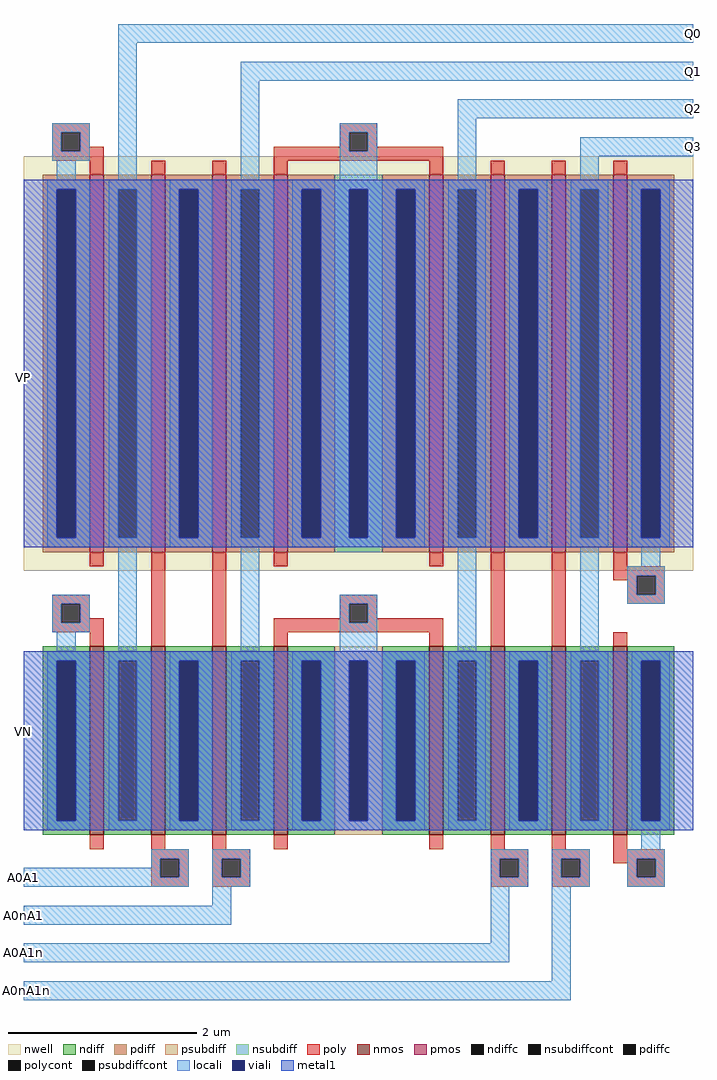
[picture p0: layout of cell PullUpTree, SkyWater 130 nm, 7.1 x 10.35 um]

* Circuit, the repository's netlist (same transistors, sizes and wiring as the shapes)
* SPICE3 file created from /home/madvlsi/Desktop/CMOSDRAM/DRAM_Components/Magic/PullUpTree.ext - technology: sky130A


* Top level circuit /home/madvlsi/Desktop/CMOSDRAM/DRAM_Components/Magic/PullUpTree

X0 VP A0A1n Q2 VP sky130_fd_pr__pfet_01v8 ad=1.2e+13p pd=5.4e+07u as=2e+12p ps=9e+06u w=4e+06u l=150000u
X1 VP VP Q3 VP sky130_fd_pr__pfet_01v8 ad=0p pd=0u as=2e+12p ps=9e+06u w=4e+06u l=150000u
X2 Q0 VP VP VP sky130_fd_pr__pfet_01v8 ad=2e+12p pd=9e+06u as=0p ps=0u w=4e+06u l=150000u
X3 VN VN Q1 VN sky130_fd_pr__nfet_01v8 ad=6e+12p pd=3e+07u as=1e+12p ps=5e+06u w=2e+06u l=150000u
X4 Q3 A0nA1n VN VN sky130_fd_pr__nfet_01v8 ad=1e+12p pd=5e+06u as=0p ps=0u w=2e+06u l=150000u
X5 Q2 VN VN VN sky130_fd_pr__nfet_01v8 ad=1e+12p pd=5e+06u as=0p ps=0u w=2e+06u l=150000u
X6 Q0 VN VN VN sky130_fd_pr__nfet_01v8 ad=1e+12p pd=5e+06u as=0p ps=0u w=2e+06u l=150000u
X7 Q1 A0nA1 VP VP sky130_fd_pr__pfet_01v8 ad=2e+12p pd=9e+06u as=0p ps=0u w=4e+06u l=150000u
X8 Q1 A0nA1 VN VN sky130_fd_pr__nfet_01v8 ad=0p pd=0u as=0p ps=0u w=2e+06u l=150000u
X9 VN VN Q3 VN sky130_fd_pr__nfet_01v8 ad=0p pd=0u as=0p ps=0u w=2e+06u l=150000u
X10 Q3 A0nA1n VP VP sky130_fd_pr__pfet_01v8 ad=0p pd=0u as=0p ps=0u w=4e+06u l=150000u
X11 VN A0A1 Q0 VN sky130_fd_pr__nfet_01v8 ad=0p pd=0u as=0p ps=0u w=2e+06u l=150000u
X12 Q2 VP VP VP sky130_fd_pr__pfet_01v8 ad=0p pd=0u as=0p ps=0u w=4e+06u l=150000u
X13 VP A0A1 Q0 VP sky130_fd_pr__pfet_01v8 ad=0p pd=0u as=0p ps=0u w=4e+06u l=150000u
X14 VP VP Q1 VP sky130_fd_pr__pfet_01v8 ad=0p pd=0u as=0p ps=0u w=4e+06u l=150000u
X15 VN A0A1n Q2 VN sky130_fd_pr__nfet_01v8 ad=0p pd=0u as=0p ps=0u w=2e+06u l=150000u
.end

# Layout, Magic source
magic
tech sky130A
<< nwell >>
rect -430 480 280 920
<< nmos >>
rect -360 200 -345 400
rect -295 200 -280 400
rect -230 200 -215 400
rect -165 200 -150 400
rect 0 200 15 400
rect 65 200 80 400
rect 130 200 145 400
rect 195 200 210 400
<< pmos >>
rect -360 500 -345 900
rect -295 500 -280 900
rect -230 500 -215 900
rect -165 500 -150 900
rect 0 500 15 900
rect 65 500 80 900
rect 130 500 145 900
rect 195 500 210 900
<< ndiff >>
rect -410 385 -360 400
rect -410 215 -395 385
rect -375 215 -360 385
rect -410 200 -360 215
rect -345 385 -295 400
rect -345 215 -330 385
rect -310 215 -295 385
rect -345 200 -295 215
rect -280 385 -230 400
rect -280 215 -265 385
rect -245 215 -230 385
rect -280 200 -230 215
rect -215 385 -165 400
rect -215 215 -200 385
rect -180 215 -165 385
rect -215 200 -165 215
rect -150 385 -100 400
rect -50 385 0 400
rect -150 215 -135 385
rect -115 215 -100 385
rect -50 215 -35 385
rect -15 215 0 385
rect -150 200 -100 215
rect -50 200 0 215
rect 15 385 65 400
rect 15 215 30 385
rect 50 215 65 385
rect 15 200 65 215
rect 80 385 130 400
rect 80 215 95 385
rect 115 215 130 385
rect 80 200 130 215
rect 145 385 195 400
rect 145 215 160 385
rect 180 215 195 385
rect 145 200 195 215
rect 210 385 260 400
rect 210 215 225 385
rect 245 215 260 385
rect 210 200 260 215
<< pdiff >>
rect -410 885 -360 900
rect -410 515 -395 885
rect -375 515 -360 885
rect -410 500 -360 515
rect -345 885 -295 900
rect -345 515 -330 885
rect -310 515 -295 885
rect -345 500 -295 515
rect -280 885 -230 900
rect -280 515 -265 885
rect -245 515 -230 885
rect -280 500 -230 515
rect -215 885 -165 900
rect -215 515 -200 885
rect -180 515 -165 885
rect -215 500 -165 515
rect -150 885 -100 900
rect -50 885 0 900
rect -150 515 -135 885
rect -115 515 -100 885
rect -50 515 -35 885
rect -15 515 0 885
rect -150 500 -100 515
rect -50 500 0 515
rect 15 885 65 900
rect 15 515 30 885
rect 50 515 65 885
rect 15 500 65 515
rect 80 885 130 900
rect 80 515 95 885
rect 115 515 130 885
rect 80 500 130 515
rect 145 885 195 900
rect 145 515 160 885
rect 180 515 195 885
rect 145 500 195 515
rect 210 885 260 900
rect 210 515 225 885
rect 245 515 260 885
rect 210 500 260 515
<< ndiffc >>
rect -395 215 -375 385
rect -330 215 -310 385
rect -265 215 -245 385
rect -200 215 -180 385
rect -135 215 -115 385
rect -35 215 -15 385
rect 30 215 50 385
rect 95 215 115 385
rect 160 215 180 385
rect 225 215 245 385
<< pdiffc >>
rect -395 515 -375 885
rect -330 515 -310 885
rect -265 515 -245 885
rect -200 515 -180 885
rect -135 515 -115 885
rect -35 515 -15 885
rect 30 515 50 885
rect 95 515 115 885
rect 160 515 180 885
rect 225 515 245 885
<< psubdiff >>
rect -100 385 -50 400
rect -100 215 -85 385
rect -65 215 -50 385
rect -100 200 -50 215
<< nsubdiff >>
rect -100 885 -50 900
rect -100 515 -85 885
rect -65 515 -50 885
rect -100 500 -50 515
<< psubdiffcont >>
rect -85 215 -65 385
<< nsubdiffcont >>
rect -85 515 -65 885
<< poly >>
rect -400 945 -360 955
rect -400 925 -390 945
rect -370 930 -360 945
rect -95 945 -55 955
rect -95 930 -85 945
rect -370 925 -345 930
rect -400 915 -345 925
rect -165 925 -85 930
rect -65 930 -55 945
rect -65 925 15 930
rect -165 915 15 925
rect -360 900 -345 915
rect -295 900 -280 915
rect -230 900 -215 915
rect -165 900 -150 915
rect 0 900 15 915
rect 65 900 80 915
rect 130 900 145 915
rect 195 900 210 915
rect -360 485 -345 500
rect -400 445 -360 455
rect -400 425 -390 445
rect -370 430 -360 445
rect -370 425 -345 430
rect -400 415 -345 425
rect -360 400 -345 415
rect -295 400 -280 500
rect -230 400 -215 500
rect -165 485 -150 500
rect 0 485 15 500
rect -95 445 -55 455
rect -95 430 -85 445
rect -165 425 -85 430
rect -65 430 -55 445
rect -65 425 15 430
rect -165 415 15 425
rect -165 400 -150 415
rect 0 400 15 415
rect 65 400 80 500
rect 130 400 145 500
rect 195 485 210 500
rect 195 475 250 485
rect 195 470 220 475
rect 210 455 220 470
rect 240 455 250 475
rect 210 445 250 455
rect 195 400 210 415
rect -360 185 -345 200
rect -295 185 -280 200
rect -230 185 -215 200
rect -165 185 -150 200
rect 0 185 15 200
rect 65 185 80 200
rect 130 185 145 200
rect 195 185 210 200
rect -295 175 -255 185
rect -295 155 -285 175
rect -265 155 -255 175
rect -295 145 -255 155
rect -230 175 -190 185
rect -230 155 -220 175
rect -200 155 -190 175
rect -230 145 -190 155
rect 65 175 105 185
rect 65 155 75 175
rect 95 155 105 175
rect 65 145 105 155
rect 130 175 170 185
rect 130 155 140 175
rect 160 155 170 175
rect 195 175 250 185
rect 195 170 220 175
rect 130 145 170 155
rect 210 155 220 170
rect 240 155 250 175
rect 210 145 250 155
<< polycont >>
rect -390 925 -370 945
rect -85 925 -65 945
rect -390 425 -370 445
rect -85 425 -65 445
rect 220 455 240 475
rect -285 155 -265 175
rect -220 155 -200 175
rect 75 155 95 175
rect 140 155 160 175
rect 220 155 240 175
<< locali >>
rect -330 1040 280 1060
rect -400 945 -360 955
rect -400 925 -390 945
rect -370 925 -360 945
rect -400 915 -360 925
rect -395 895 -375 915
rect -330 895 -310 1040
rect -200 1000 280 1020
rect -200 895 -180 1000
rect 30 960 280 980
rect -95 945 -55 955
rect -95 925 -85 945
rect -65 925 -55 945
rect -95 895 -55 925
rect 30 895 50 960
rect 160 920 280 940
rect 160 895 180 920
rect -405 885 -360 895
rect -405 515 -395 885
rect -375 515 -360 885
rect -405 505 -360 515
rect -340 885 -295 895
rect -340 515 -330 885
rect -310 515 -295 885
rect -340 505 -295 515
rect -275 885 -230 895
rect -275 515 -265 885
rect -245 515 -230 885
rect -275 505 -230 515
rect -210 885 -165 895
rect -210 515 -200 885
rect -180 515 -165 885
rect -210 505 -165 515
rect -145 885 -5 895
rect -145 515 -135 885
rect -115 515 -85 885
rect -65 515 -35 885
rect -15 515 -5 885
rect -145 505 -5 515
rect 20 885 60 895
rect 20 515 30 885
rect 50 515 60 885
rect 20 505 60 515
rect 85 885 125 895
rect 85 515 95 885
rect 115 515 125 885
rect 85 505 125 515
rect 150 885 190 895
rect 150 515 160 885
rect 180 515 190 885
rect 150 505 190 515
rect 215 885 255 895
rect 215 515 225 885
rect 245 515 255 885
rect 215 505 255 515
rect -400 445 -360 455
rect -400 425 -390 445
rect -370 425 -360 445
rect -400 415 -360 425
rect -395 395 -375 415
rect -330 395 -310 505
rect -200 395 -180 505
rect -95 445 -55 455
rect -95 425 -85 445
rect -65 425 -55 445
rect -95 395 -55 425
rect 30 395 50 505
rect 160 395 180 505
rect 225 485 245 505
rect 210 475 250 485
rect 210 455 220 475
rect 240 455 250 475
rect 210 445 250 455
rect -405 385 -360 395
rect -405 215 -395 385
rect -375 215 -360 385
rect -405 205 -360 215
rect -340 385 -295 395
rect -340 215 -330 385
rect -310 215 -295 385
rect -340 205 -295 215
rect -275 385 -230 395
rect -275 215 -265 385
rect -245 215 -230 385
rect -275 205 -230 215
rect -210 385 -165 395
rect -210 215 -200 385
rect -180 215 -165 385
rect -210 205 -165 215
rect -145 385 -5 395
rect -145 215 -135 385
rect -115 215 -85 385
rect -65 215 -35 385
rect -15 215 -5 385
rect -145 205 -5 215
rect 20 385 60 395
rect 20 215 30 385
rect 50 215 60 385
rect 20 205 60 215
rect 85 385 125 395
rect 85 215 95 385
rect 115 215 125 385
rect 85 205 125 215
rect 150 385 190 395
rect 150 215 160 385
rect 180 215 190 385
rect 150 205 190 215
rect 215 385 255 395
rect 215 215 225 385
rect 245 215 255 385
rect 215 205 255 215
rect 225 185 245 205
rect -295 175 -255 185
rect -295 165 -285 175
rect -430 155 -285 165
rect -265 155 -255 175
rect -430 145 -255 155
rect -230 175 -190 185
rect -230 155 -220 175
rect -200 155 -190 175
rect -230 145 -190 155
rect 65 175 105 185
rect 65 155 75 175
rect 95 155 105 175
rect 65 145 105 155
rect 130 175 170 185
rect 130 155 140 175
rect 160 155 170 175
rect 130 145 170 155
rect 210 175 250 185
rect 210 155 220 175
rect 240 155 250 175
rect 210 145 250 155
rect -230 125 -210 145
rect -430 105 -210 125
rect 65 85 85 145
rect -430 65 85 85
rect 130 45 150 145
rect -430 25 150 45
<< viali >>
rect -395 515 -375 885
rect -265 515 -245 885
rect -135 515 -115 885
rect -85 515 -65 885
rect -35 515 -15 885
rect 95 515 115 885
rect 225 515 245 885
rect -395 215 -375 385
rect -265 215 -245 385
rect -135 215 -115 385
rect -85 215 -65 385
rect -35 215 -15 385
rect 95 215 115 385
rect 225 215 245 385
<< metal1 >>
rect -430 885 280 895
rect -430 515 -395 885
rect -375 515 -265 885
rect -245 515 -135 885
rect -115 515 -85 885
rect -65 515 -35 885
rect -15 515 95 885
rect 115 515 225 885
rect 245 515 280 885
rect -430 505 280 515
rect -430 385 280 395
rect -430 215 -395 385
rect -375 215 -265 385
rect -245 215 -135 385
rect -115 215 -85 385
rect -65 215 -35 385
rect -15 215 95 385
rect 115 215 225 385
rect 245 215 280 385
rect -430 205 280 215
<< labels >>
rlabel locali 280 1050 280 1050 3 Q0
rlabel locali 280 1010 280 1010 3 Q1
rlabel locali 280 970 280 970 3 Q2
rlabel locali 280 930 280 930 3 Q3
rlabel metal1 -430 685 -430 685 7 VP
rlabel metal1 -430 310 -430 310 7 VN
rlabel locali -430 155 -430 155 7 A0A1
rlabel locali -430 115 -430 115 7 A0nA1
rlabel locali -430 75 -430 75 7 A0A1n
rlabel locali -430 35 -430 35 7 A0nA1n
<< end >>
